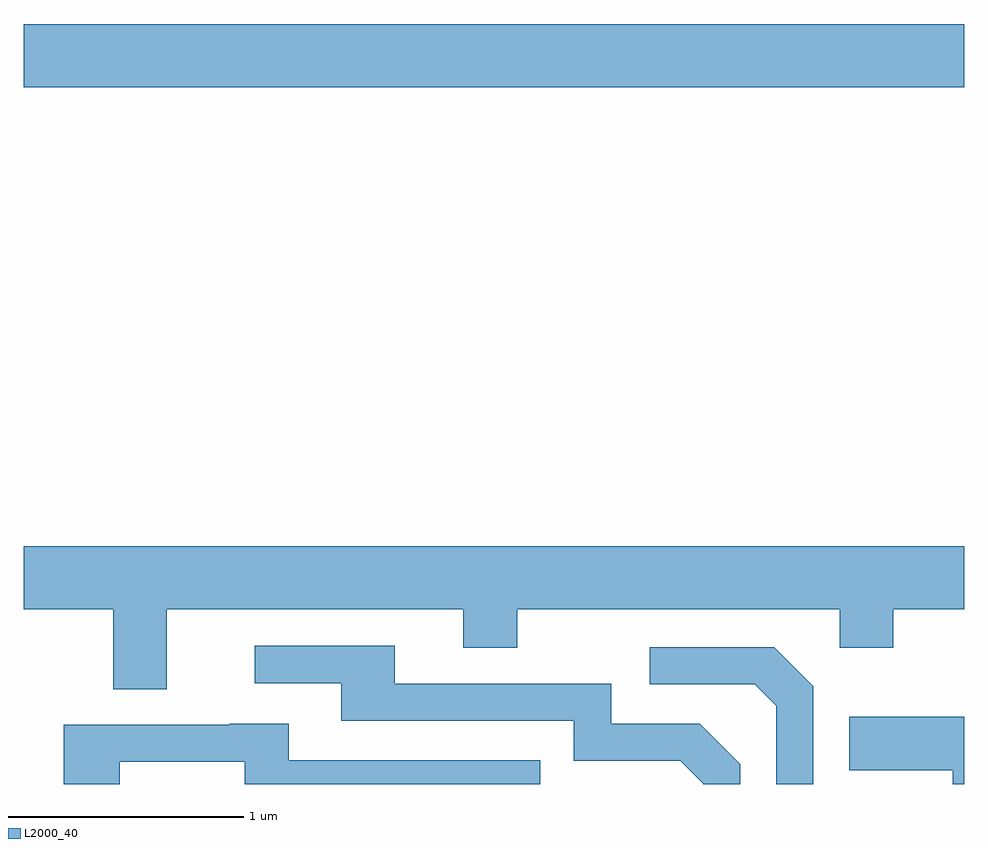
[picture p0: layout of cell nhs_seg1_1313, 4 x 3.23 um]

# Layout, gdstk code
import gdstk
lib = gdstk.Library(unit=1e-6, precision=1e-09)
def R(c, l, rs):  # rectangles x0, y0, x1, y1
    for r in rs: c.add(gdstk.rectangle(r[:2], r[2:], *l))
def P(c, l, *ps):  # polygons
    for p in ps: c.add(gdstk.Polygon(p, *l))
L2000_40 = (2000, 40)

nhs_seg1_1313 = lib.new_cell('nhs_seg1_1313')
R(nhs_seg1_1313, L2000_40, [(225.611,910.676,229.611,910.944)])
P(nhs_seg1_1313, L2000_40, [(226.219,908.456),(227.481,908.456),(227.481,908.291),(227.709,908.291),(227.709,908.456),(229.081,908.456),(229.081,908.291),(229.309,908.291),(229.309,908.456),(229.611,908.456),(229.611,908.724),(225.611,908.724),(225.611,908.456),(225.991,908.456),(225.991,908.116),(226.219,908.116)],
  [(228.659,907.797),(228.487,907.969),(228.109,907.969),(228.109,908.139),(227.189,908.139),(227.189,908.299),(226.593,908.299),(226.593,908.141),(226.961,908.141),(226.961,907.981),(227.951,907.981),(227.951,907.811),(228.404,907.811),(228.501,907.714),(228.501,907.712),(228.659,907.712)],
  [(228.969,908.127),(228.802,908.294),(228.273,908.294),(228.273,908.136),(228.719,908.136),(228.811,908.044),(228.811,907.712),(228.969,907.712)],
  [(229.611,907.999),(229.121,907.999),(229.121,907.771),(229.561,907.771),(229.561,907.712),(229.611,907.712)],
  [(226.019,907.806),(226.551,907.806),(226.551,907.712),(227.808,907.712),(227.808,907.814),(226.739,907.814),(226.739,907.969),(226.485,907.969),(226.485,907.964),(225.781,907.964),(225.781,907.712),(226.019,907.712)])

lib.write_gds('nhs_seg1_1313.gds')
